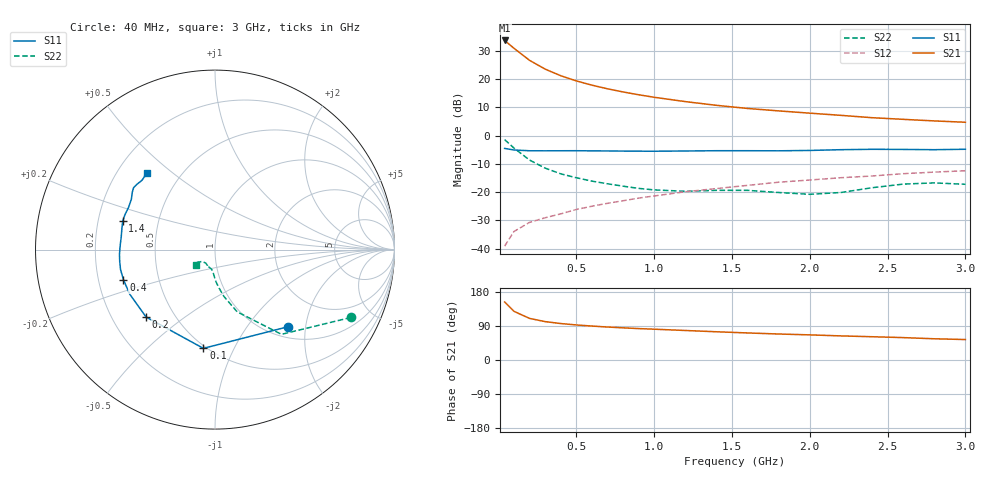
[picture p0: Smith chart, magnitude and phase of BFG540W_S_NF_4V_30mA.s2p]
! Filename:  BFG540WD.S2P  Version:  4.0
! Philips part #: BFG540  Date: Jun 1994
! Bias condition: Vce=4.0V, Ic=30.0mA
! IN LINE PINNING: same data as with cross emitter pinning.
#  MHz  S  MA  R  50
! Freq  S11  S21  S12  S22  !GUM [dB]
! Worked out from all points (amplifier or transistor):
!   21 points, 40 MHz to 3 GHz, reference 50 ohm
!   highest |S21| = 33.6 dB at 40 MHz (marker M1)
!   |S21| within 3 dB of that: start of sweep to 105.6 MHz
!   unconditionally stable (mu >= 1): 674.3 MHz to end of sweep
!   at 300 MHz: K = 0.77, MSG = 26.3 dB, |S12| = -29.1 dB
!   at 1 GHz: K = 1.08, MAG = 15.8 dB, |S12| = -21.4 dB
!   at 3 GHz: K = 1.07, MAG = 7.0 dB, |S12| = -12.5 dB
!   lowest NFmin = 1.70 dB at 900 MHz
!   S11 on the Smith chart (normalised r, x): 40 MHz: 1.21, -1.60; 100 MHz: 0.48, -0.77; 200 MHz: 0.35, -0.37; 400 MHz: 0.31, -0.15; 1.4 GHz: 0.31, +0.14; 3 GHz: 0.32, +0.41
40  0.591 -46.7  48.12 153.1  0.011 69.6  0.847 -26.5
100  0.554 -96.7  35.01 128.5  0.02 57.0  0.6 -51.9
200  0.537 -135.6  21.42 109.8  0.029 54.3  0.368 -70.4
300  0.536 -152.3  14.97 101.3  0.035 56.8  0.265 -79.3
400  0.537 -161.7  11.45 96.2  0.041 61.0  0.21 -84.6
500  0.538 -168.1  9.265 92.5  0.049 63.6  0.179 -88.3
600  0.535 -172.9  7.789 89.6  0.056 66.3  0.156 -90.8
700  0.533 -176.9  6.717 87.0  0.063 67.7  0.14 -92.8
800  0.53 179.5  5.908 84.9  0.07 68.9  0.127 -94.9
900  0.528 176.1  5.266 82.9  0.078 70.2  0.116 -97.9
1000  0.527 172.7  4.754 81.3  0.085 70.9  0.109 -101.3
1200  0.532 167.1  3.984 77.9  0.101 71.8  0.103 -109.0
1400  0.538 163.0  3.423 74.5  0.115 72.1  0.107 -113.2
1600  0.538 158.8  3.012 71.4  0.131 72.6  0.107 -114.1
1800  0.536 154.0  2.728 68.6  0.149 71.8  0.098 -115.4
2000  0.544 148.9  2.486 66.3  0.163 71.4  0.091 -124.4
2200  0.561 145.2  2.274 63.6  0.179 70.7  0.098 -137.3
2400  0.57 142.7  2.066 61.4  0.192 70.9  0.119 -144.2
2600  0.567 140.1  1.933 59.1  0.211 70.1  0.138 -142.8
2800  0.561 136.5  1.812 56.0  0.225 68.4  0.145 -139.5
3000  0.571 131.6  1.716 54.0  0.238 68.0  0.137 -141.5
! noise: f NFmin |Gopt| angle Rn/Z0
900  1.7  0.312  171  0.11
2000  2.4  0.543  -155  0.12
